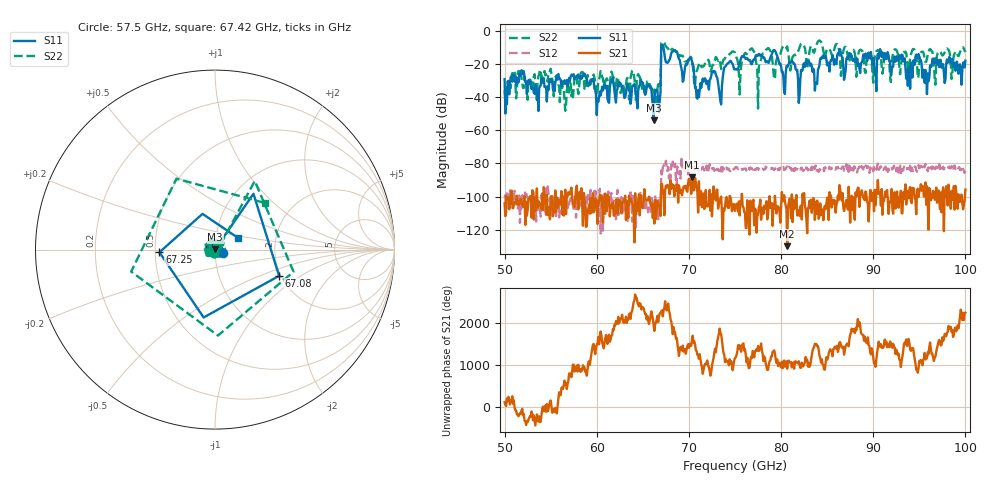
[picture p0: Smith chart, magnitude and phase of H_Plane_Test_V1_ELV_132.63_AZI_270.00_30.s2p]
! 11/27/2026 8:21:14 AM
! C:\ANRITSUVNA\TEMP\TEMP.S2P
! CHANNEL.1
! TR.MEASUREMENT
! RAW.DATA
# HZ S RI R 50.0
! FREQ.HZ  S11RE  S11IM  S21RE  S21IM  S12RE  S12IM  S22RE  S22IM
!; PortSelection: Port_12
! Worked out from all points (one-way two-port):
!   601 points, 50 GHz to 100 GHz, reference 50 ohm
!   highest |S21| = -88.38 dB at 70.33 GHz (marker M1); lowest = -130.0 dB at 80.67 GHz (marker M2)
!   lowest |S11| = -53.8 dB at 66.17 GHz (marker M3), VSWR 1.00, Z = 50.1 + j0.154 ohm
!   |S11| at or under -10 dB: start of sweep to 67 GHz; 67.24 GHz to end of sweep
!   |S22| runs from -48.1 to -5.6 dB; largest |S21 - S12| = 0.00017
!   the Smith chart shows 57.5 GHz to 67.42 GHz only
!   S11 on the Smith chart (normalised r, x): 57.5 GHz: 1.09, -0.05; 67.08 GHz: 1.96, -0.67; 67.25 GHz: 0.53, -0.02; 67.42 GHz: 1.29, +0.17
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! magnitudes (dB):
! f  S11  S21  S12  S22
! 50 GHz  -29.0  -104.1  -100.3  -35.7
! 51.67 GHz  -26.2  -101.9  -115.9  -23.1
! 53.42 GHz  -34.7  -104.8  -115.1  -34.9
! 57.5 GHz  -26.1  -105.6  -108.3  -34.4
! 58.42 GHz  -27.1  -105.1  -96.8  -24.7
! 60.17 GHz  -42.7  -103.4  -110.5  -30.2
! 66.17 GHz  -53.8  -104.9  -105.5  -33.9
! 66.67 GHz  -41.8  -104.8  -114.3  -31.5
! 67.08 GHz  -8.3  -92.5  -87.5  -6.8
! 67.25 GHz  -10.2  -98.9  -81.4  -6.3
! 67.42 GHz  -16.8  -95.9  -81.3  -8.4
! 70.33 GHz  -18.5  -88.4  -82.1  -19.2
! 70.92 GHz  -40.8  -97.3  -81.1  -23.1
! 75 GHz  -23.1  -108.6  -82.5  -13.0
! 79.25 GHz  -11.4  -107.5  -84.0  -29.0
! 80.67 GHz  -20.9  -130.0  -81.8  -9.2
! 83.42 GHz  -24.6  -102.8  -84.9  -10.9
! 91.67 GHz  -16.7  -110.5  -83.3  -15.3
! 93.75 GHz  -33.0  -98.3  -83.2  -21.8
! 94.83 GHz  -14.9  -95.3  -82.7  -28.4
! 95.83 GHz  -38.1  -93.7  -82.7  -16.4
! 100 GHz  -17.8  -95.8  -84.6  -12.6
